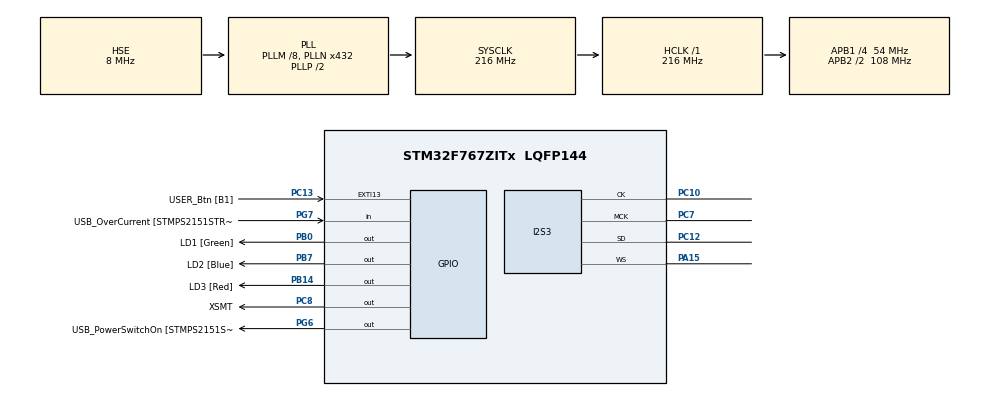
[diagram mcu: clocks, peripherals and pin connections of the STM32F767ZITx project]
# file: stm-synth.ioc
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Dma.Request0=SPI3_TX
Dma.SPI3_TX.0.Direction=DMA_MEMORY_TO_PERIPH
Dma.SPI3_TX.0.FIFOMode=DMA_FIFOMODE_DISABLE
Dma.SPI3_TX.0.Instance=DMA1_Stream5
Dma.SPI3_TX.0.MemDataAlignment=DMA_MDATAALIGN_HALFWORD
Dma.SPI3_TX.0.MemInc=DMA_MINC_ENABLE
Dma.SPI3_TX.0.Mode=DMA_CIRCULAR
Dma.SPI3_TX.0.PeriphDataAlignment=DMA_PDATAALIGN_HALFWORD
Dma.SPI3_TX.0.PeriphInc=DMA_PINC_DISABLE
Dma.SPI3_TX.0.Priority=DMA_PRIORITY_VERY_HIGH
I2S3.AudioFreq=I2S_AUDIOFREQ_48K
I2S3.ClockSource-Half_Duplex_Master=I2S_CLOCK_EXTERNAL
I2S3.DataFormat=I2S_DATAFORMAT_16B
I2S3.ErrorAudioFreq=-0.01 %
I2S3.FullDuplexMode=I2S_FULLDUPLEXMODE_DISABLE
I2S3.Instance=SPI$Index
I2S3.RealAudioFreq=47.991 KHz
I2S3.Standard=I2S_STANDARD_PHILIPS
I2S3.VirtualMode=I2S_MODE_MASTER
Mcu.Family=STM32F7
Mcu.Name=STM32F767ZITx
Mcu.Package=LQFP144
NVIC.DMA1_Stream5_IRQn=true\:0\:0\:false\:false\:true\:false\:true\:true
NVIC.PriorityGroup=NVIC_PRIORITYGROUP_4
NVIC.RCC_IRQn=true\:0\:0\:false\:false\:true\:true\:false\:true
NVIC.SPI3_IRQn=true\:0\:0\:false\:false\:true\:true\:true\:true
PA1.GPIO_Label=RMII_REF_CLK [LAN8742A-CZ-TR_REFCLK0]
PA1.Signal=ETH_REF_CLK
PA10.GPIO_Label=USB_ID
PA10.Signal=USB_OTG_FS_ID
PA11.GPIO_Label=USB_DM
PA11.Signal=USB_OTG_FS_DM
PA12.GPIO_Label=USB_DP
PA12.Signal=USB_OTG_FS_DP
PA13.GPIO_Label=TMS
PA13.Signal=SYS_JTMS-SWDIO
PA14.GPIO_Label=TCK
PA14.Signal=SYS_JTCK-SWCLK
PA15.Mode=Half_Duplex_Master
PA15.Signal=I2S3_WS
PA2.GPIO_Label=RMII_MDIO [LAN8742A-CZ-TR_MDIO]
PA2.Signal=ETH_MDIO
PA7.GPIO_Label=RMII_CRS_DV [LAN8742A-CZ-TR_CRS_DV]
PA7.Signal=ETH_CRS_DV
PA8.GPIO_Label=USB_SOF [TP1]
PA8.Signal=USB_OTG_FS_SOF
PA9.GPIO_Label=USB_VBUS
PA9.Signal=USB_OTG_FS_VBUS
PB0.GPIO_Label=LD1 [Green]
PB0.Signal=GPIO_Output
PB13.GPIO_Label=RMII_TXD1 [LAN8742A-CZ-TR_TXD1]
PB13.Signal=ETH_TXD1
PB14.GPIO_Label=LD3 [Red]
PB14.Signal=GPIO_Output
PB3.GPIO_Label=SW0
PB3.Signal=SYS_JTDO-SWO
PB7.GPIO_Label=LD2 [Blue]
PB7.Signal=GPIO_Output
PC1.GPIO_Label=RMII_MDC [LAN8742A-CZ-TR_MDC]
PC1.Signal=ETH_MDC
PC10.Mode=Half_Duplex_Master
PC10.Signal=I2S3_CK
PC12.Mode=Half_Duplex_Master
PC12.Signal=I2S3_SD
PC13.GPIO_Label=USER_Btn [B1]
PC13.Signal=GPXTI13
PC14/OSC32_IN.Signal=RCC_OSC32_IN
PC15/OSC32_OUT.Signal=RCC_OSC32_OUT
PC4.Signal=I2S1_MCK
PC5.GPIO_Label=RMII_RXD1 [LAN8742A-CZ-TR_RXD1]
PC5.Signal=ETH_RXD1
PC7.Mode=Master_Clock_Activated
PC7.Signal=I2S3_MCK
PC8.GPIO_Label=XSMT
PC8.GPIO_PuPd=GPIO_NOPULL
PC8.GPIO_Speed=GPIO_SPEED_FREQ_MEDIUM
PC8.Signal=GPIO_Output
PD8.GPIO_Label=STLK_RX [STM32F103CBT6_PA3]
PD8.Signal=USART3_TX
PD9.GPIO_Label=STLK_TX [STM32F103CBT6_PA2]
PD9.Signal=USART3_RX
PG11.GPIO_Label=RMII_TX_EN [LAN8742A-CZ-TR_TXEN]
PG11.Signal=ETH_TX_EN
PG13.GPIO_Label=RMII_TXD0 [LAN8742A-CZ-TR_TXD0]
PG13.Signal=ETH_TXD0
PG6.GPIO_Label=USB_PowerSwitchOn [STMPS2151STR_EN]
PG6.Signal=GPIO_Output
PG7.GPIO_Label=USB_OverCurrent [STMPS2151STR_FAULT]
PG7.Signal=GPIO_Input
PH0/OSC_IN.GPIO_Label=MCO [STM32F103CBT6_PA8]
PH0/OSC_IN.Mode=HSE-External-Oscillator
PH0/OSC_IN.Signal=RCC_OSC_IN
PH1/OSC_OUT.Mode=HSE-External-Oscillator
PH1/OSC_OUT.Signal=RCC_OSC_OUT
ProjectManager.HeapSize=0x200
ProjectManager.StackSize=0x400
ProjectManager.TargetToolchain=CMake
RCC.48MHZClocksFreq_Value=24000000
RCC.AHBFreq_Value=216000000
RCC.APB1CLKDivider=RCC_HCLK_DIV4
RCC.APB1Freq_Value=54000000
RCC.APB1TimFreq_Value=108000000
RCC.APB2CLKDivider=RCC_HCLK_DIV2
RCC.APB2Freq_Value=108000000
RCC.APB2TimFreq_Value=216000000
RCC.CortexFreq_Value=216000000
RCC.HCLKFreq_Value=216000000
RCC.HSE_VALUE=8000000
RCC.HSI_VALUE=16000000
RCC.LSE_VALUE=32768
RCC.PLLI2SN=344
RCC.PLLI2SR=7
RCC.PLLM=8
RCC.PLLMUL=RCC_PLL_MUL9
RCC.PLLN=432
RCC.PLLSAIN=216
RCC.PLLSourceVirtual=RCC_PLLSOURCE_HSE
RCC.PRESCALERUSB=RCC_USBCLKSOURCE_PLL_DIV1_5
RCC.SYSCLKFreq_VALUE=216000000
RCC.SYSCLKSource=RCC_SYSCLKSOURCE_PLLCLK
RCC.SYSCLKSourceVirtual=RCC_SYSCLKSOURCE_PLLCLK
RCC.USBFreq_Value=216000000
RCC.VCOOutputFreq_Value=432000000
board=NUCLEO-F767ZI

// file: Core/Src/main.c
/* USER CODE BEGIN Header */
/**
  ******************************************************************************
  * @file           : main.c
  * @brief          : Main program body
  ******************************************************************************
  * @attention
  *
  * Copyright (c) 2025 STMicroelectronics.
  * All rights reserved.
  *
  * This software is licensed under terms that can be found in the LICENSE file
  * in the root directory of this software component.
  * If no LICENSE file comes with this software, it is provided AS-IS.
  *
  ******************************************************************************
  */
/* USER CODE END Header */
#include "main.h"

/* USER CODE BEGIN Includes */
#include <math.h>
#include <string.h>
#include <stdbool.h>
/* USER CODE END Includes */

I2S_HandleTypeDef hi2s3;
DMA_HandleTypeDef hdma_spi3_tx;

void SystemClock_Config(void);
static void MX_GPIO_Init(void);
static void MX_DMA_Init(void);
static void MX_I2S3_Init(void);

/* USER CODE BEGIN 0 */

#define AUDIO_BUFFER_SIZE 128
#define AUDIO_RANGE 32767.0f
__attribute__((aligned(4))) int16_t audio_buffer[AUDIO_BUFFER_SIZE * 2] = {0};
bool muted = true;

volatile float phase = 0.0f;
const float sample_rate = 48000.0f * 0.976f;
const float frequency = 440.0f;
const float phase_increment = frequency / sample_rate;
const float gain = 0.9f;

void GenerateAudioBlock(int16_t* buf, int halfSize)
{
  if (muted) {
    memset(buf, INT16_MIN, halfSize * (sizeof(int16_t)));
    return;
  }
  for (int i = 0; i < halfSize; i += 2)
  {
    float s = sinf(2.0f * M_PI * phase) * gain;
    int16_t v = (int16_t)(s * AUDIO_RANGE);

    buf[i]     = v;  // left channel
    buf[i + 1] = v;  // right channel (mono)

    phase += phase_increment;
    if (phase >= 1.0f) phase -= 1.0f;
  }
}

/* USER CODE END 0 */

int main(void)
{

  /* MCU Configuration--------------------------------------------------------*/

  /* Reset of all peripherals, Initializes the Flash interface and the Systick. */
  HAL_Init();

  /* Configure the system clock */
  SystemClock_Config();

  /* Initialize all configured peripherals */
  MX_GPIO_Init();
  MX_DMA_Init();
  MX_I2S3_Init();

  /* Infinite loop */
  /* USER CODE BEGIN WHILE */
  HAL_StatusTypeDef ret = HAL_I2S_Transmit_DMA(&hi2s3, (uint16_t*)&audio_buffer[0], AUDIO_BUFFER_SIZE * 2);
  HAL_GPIO_WritePin(GPIOC, GPIO_PIN_8, GPIO_PIN_SET);
  while (1)
  {
    if (HAL_GPIO_ReadPin(GPIOC, GPIO_PIN_13) == GPIO_PIN_SET) {
      HAL_GPIO_WritePin(GPIOB, GPIO_PIN_7, GPIO_PIN_SET);
      muted = false;
    }
    else {
      HAL_GPIO_WritePin(GPIOB, GPIO_PIN_7, GPIO_PIN_RESET);
      muted = true;
    }

    /* USER CODE END WHILE */

  }
}

void SystemClock_Config(void)
{
  RCC_OscInitTypeDef RCC_OscInitStruct = {0};
  RCC_ClkInitTypeDef RCC_ClkInitStruct = {0};

  /** Configure the main internal regulator output voltage
  */
  __HAL_RCC_PWR_CLK_ENABLE();
  __HAL_PWR_VOLTAGESCALING_CONFIG(PWR_REGULATOR_VOLTAGE_SCALE1);

  /** Initializes the RCC Oscillators according to the specified parameters
  * in the RCC_OscInitTypeDef structure.
  */
  RCC_OscInitStruct.OscillatorType = RCC_OSCILLATORTYPE_HSE;
  RCC_OscInitStruct.HSEState = RCC_HSE_ON;
  RCC_OscInitStruct.PLL.PLLState = RCC_PLL_ON;
  RCC_OscInitStruct.PLL.PLLSource = RCC_PLLSOURCE_HSE;
  RCC_OscInitStruct.PLL.PLLM = 8;
  RCC_OscInitStruct.PLL.PLLN = 432;
  RCC_OscInitStruct.PLL.PLLP = RCC_PLLP_DIV2;
  RCC_OscInitStruct.PLL.PLLQ = 2;
  RCC_OscInitStruct.PLL.PLLR = 2;
  if (HAL_RCC_OscConfig(&RCC_OscInitStruct) != HAL_OK)
  {
    Error_Handler();
  }

  /** Activate the Over-Drive mode
  */
  if (HAL_PWREx_EnableOverDrive() != HAL_OK)
  {
    Error_Handler();
  }

  /** Initializes the CPU, AHB and APB buses clocks
  */
  RCC_ClkInitStruct.ClockType = RCC_CLOCKTYPE_HCLK|RCC_CLOCKTYPE_SYSCLK
                              |RCC_CLOCKTYPE_PCLK1|RCC_CLOCKTYPE_PCLK2;
  RCC_ClkInitStruct.SYSCLKSource = RCC_SYSCLKSOURCE_PLLCLK;
  RCC_ClkInitStruct.AHBCLKDivider = RCC_SYSCLK_DIV1;
  RCC_ClkInitStruct.APB1CLKDivider = RCC_HCLK_DIV4;
  RCC_ClkInitStruct.APB2CLKDivider = RCC_HCLK_DIV2;

  if (HAL_RCC_ClockConfig(&RCC_ClkInitStruct, FLASH_LATENCY_7) != HAL_OK)
  {
    Error_Handler();
  }
}

static void MX_I2S3_Init(void)
{

  hi2s3.Instance = SPI3;
  hi2s3.Init.Mode = I2S_MODE_MASTER_TX;
  hi2s3.Init.Standard = I2S_STANDARD_PHILIPS;
  hi2s3.Init.DataFormat = I2S_DATAFORMAT_16B;
  hi2s3.Init.MCLKOutput = I2S_MCLKOUTPUT_ENABLE;
  hi2s3.Init.AudioFreq = I2S_AUDIOFREQ_48K;
  hi2s3.Init.CPOL = I2S_CPOL_LOW;
  hi2s3.Init.ClockSource = I2S_CLOCK_PLL;
  if (HAL_I2S_Init(&hi2s3) != HAL_OK)
  {
    Error_Handler();
  }
  /* USER CODE BEGIN I2S3_Init 2 */
  __HAL_RCC_PLLI2S_ENABLE();
  /* USER CODE END I2S3_Init 2 */

}

static void MX_DMA_Init(void)
{

  /* DMA controller clock enable */
  __HAL_RCC_DMA1_CLK_ENABLE();

  /* DMA interrupt init */
  /* DMA1_Stream5_IRQn interrupt configuration */
  HAL_NVIC_SetPriority(DMA1_Stream5_IRQn, 0, 0);
  HAL_NVIC_EnableIRQ(DMA1_Stream5_IRQn);

}

static void MX_GPIO_Init(void)
{
  GPIO_InitTypeDef GPIO_InitStruct = {0};

  /* GPIO Ports Clock Enable */
  __HAL_RCC_GPIOC_CLK_ENABLE();
  __HAL_RCC_GPIOH_CLK_ENABLE();
  __HAL_RCC_GPIOA_CLK_ENABLE();
  __HAL_RCC_GPIOB_CLK_ENABLE();
  __HAL_RCC_GPIOD_CLK_ENABLE();
  __HAL_RCC_GPIOG_CLK_ENABLE();

  /*Configure GPIO pin Output Level */
  HAL_GPIO_WritePin(GPIOB, LD1_Pin|LD3_Pin|LD2_Pin, GPIO_PIN_RESET);

  /*Configure GPIO pin Output Level */
  HAL_GPIO_WritePin(USB_PowerSwitchOn_GPIO_Port, USB_PowerSwitchOn_Pin, GPIO_PIN_RESET);

  /*Configure GPIO pin Output Level */
  HAL_GPIO_WritePin(XSMT_GPIO_Port, XSMT_Pin, GPIO_PIN_RESET);

  /*Configure GPIO pin : USER_Btn_Pin */
  GPIO_InitStruct.Pin = USER_Btn_Pin;
  GPIO_InitStruct.Mode = GPIO_MODE_IT_RISING;
  GPIO_InitStruct.Pull = GPIO_NOPULL;
  HAL_GPIO_Init(USER_Btn_GPIO_Port, &GPIO_InitStruct);

  /*Configure GPIO pins : RMII_MDC_Pin RMII_RXD1_Pin */
  GPIO_InitStruct.Pin = RMII_MDC_Pin|RMII_RXD1_Pin;
  GPIO_InitStruct.Mode = GPIO_MODE_AF_PP;
  GPIO_InitStruct.Pull = GPIO_NOPULL;
  GPIO_InitStruct.Speed = GPIO_SPEED_FREQ_VERY_HIGH;
  GPIO_InitStruct.Alternate = GPIO_AF11_ETH;
  HAL_GPIO_Init(GPIOC, &GPIO_InitStruct);

  /*Configure GPIO pins : RMII_REF_CLK_Pin RMII_MDIO_Pin RMII_CRS_DV_Pin */
  GPIO_InitStruct.Pin = RMII_REF_CLK_Pin|RMII_MDIO_Pin|RMII_CRS_DV_Pin;
  GPIO_InitStruct.Mode = GPIO_MODE_AF_PP;
  GPIO_InitStruct.Pull = GPIO_NOPULL;
  GPIO_InitStruct.Speed = GPIO_SPEED_FREQ_VERY_HIGH;
  GPIO_InitStruct.Alternate = GPIO_AF11_ETH;
  HAL_GPIO_Init(GPIOA, &GPIO_InitStruct);

  /*Configure GPIO pin : PC4 */
  GPIO_InitStruct.Pin = GPIO_PIN_4;
  GPIO_InitStruct.Mode = GPIO_MODE_AF_PP;
  GPIO_InitStruct.Pull = GPIO_NOPULL;
  GPIO_InitStruct.Speed = GPIO_SPEED_FREQ_LOW;
  GPIO_InitStruct.Alternate = GPIO_AF5_SPI1;
  HAL_GPIO_Init(GPIOC, &GPIO_InitStruct);

  /*Configure GPIO pins : LD1_Pin LD3_Pin LD2_Pin */
  GPIO_InitStruct.Pin = LD1_Pin|LD3_Pin|LD2_Pin;
  GPIO_InitStruct.Mode = GPIO_MODE_OUTPUT_PP;
  GPIO_InitStruct.Pull = GPIO_NOPULL;
  GPIO_InitStruct.Speed = GPIO_SPEED_FREQ_LOW;
  HAL_GPIO_Init(GPIOB, &GPIO_InitStruct);

  /*Configure GPIO pin : RMII_TXD1_Pin */
  GPIO_InitStruct.Pin = RMII_TXD1_Pin;
  GPIO_InitStruct.Mode = GPIO_MODE_AF_PP;
  GPIO_InitStruct.Pull = GPIO_NOPULL;
  GPIO_InitStruct.Speed = GPIO_SPEED_FREQ_VERY_HIGH;
  GPIO_InitStruct.Alternate = GPIO_AF11_ETH;
  HAL_GPIO_Init(RMII_TXD1_GPIO_Port, &GPIO_InitStruct);

  /*Configure GPIO pins : STLK_RX_Pin STLK_TX_Pin */
  GPIO_InitStruct.Pin = STLK_RX_Pin|STLK_TX_Pin;
  GPIO_InitStruct.Mode = GPIO_MODE_AF_PP;
  GPIO_InitStruct.Pull = GPIO_NOPULL;
  GPIO_InitStruct.Speed = GPIO_SPEED_FREQ_VERY_HIGH;
  GPIO_InitStruct.Alternate = GPIO_AF7_USART3;
  HAL_GPIO_Init(GPIOD, &GPIO_InitStruct);

  /*Configure GPIO pin : USB_PowerSwitchOn_Pin */
  GPIO_InitStruct.Pin = USB_PowerSwitchOn_Pin;
  GPIO_InitStruct.Mode = GPIO_MODE_OUTPUT_PP;
  GPIO_InitStruct.Pull = GPIO_NOPULL;
  GPIO_InitStruct.Speed = GPIO_SPEED_FREQ_LOW;
  HAL_GPIO_Init(USB_PowerSwitchOn_GPIO_Port, &GPIO_InitStruct);

  /*Configure GPIO pin : USB_OverCurrent_Pin */
  GPIO_InitStruct.Pin = USB_OverCurrent_Pin;
  GPIO_InitStruct.Mode = GPIO_MODE_INPUT;
  GPIO_InitStruct.Pull = GPIO_NOPULL;
  HAL_GPIO_Init(USB_OverCurrent_GPIO_Port, &GPIO_InitStruct);

  /*Configure GPIO pin : XSMT_Pin */
  GPIO_InitStruct.Pin = XSMT_Pin;
  GPIO_InitStruct.Mode = GPIO_MODE_OUTPUT_PP;
  GPIO_InitStruct.Pull = GPIO_NOPULL;
  GPIO_InitStruct.Speed = GPIO_SPEED_FREQ_MEDIUM;
  HAL_GPIO_Init(XSMT_GPIO_Port, &GPIO_InitStruct);

  /*Configure GPIO pins : USB_SOF_Pin USB_ID_Pin USB_DM_Pin USB_DP_Pin */
  GPIO_InitStruct.Pin = USB_SOF_Pin|USB_ID_Pin|USB_DM_Pin|USB_DP_Pin;
  GPIO_InitStruct.Mode = GPIO_MODE_AF_PP;
  GPIO_InitStruct.Pull = GPIO_NOPULL;
  GPIO_InitStruct.Speed = GPIO_SPEED_FREQ_VERY_HIGH;
  GPIO_InitStruct.Alternate = GPIO_AF10_OTG_FS;
  HAL_GPIO_Init(GPIOA, &GPIO_InitStruct);

  /*Configure GPIO pin : USB_VBUS_Pin */
  GPIO_InitStruct.Pin = USB_VBUS_Pin;
  GPIO_InitStruct.Mode = GPIO_MODE_INPUT;
  GPIO_InitStruct.Pull = GPIO_NOPULL;
  HAL_GPIO_Init(USB_VBUS_GPIO_Port, &GPIO_InitStruct);

  /*Configure GPIO pins : RMII_TX_EN_Pin RMII_TXD0_Pin */
  GPIO_InitStruct.Pin = RMII_TX_EN_Pin|RMII_TXD0_Pin;
  GPIO_InitStruct.Mode = GPIO_MODE_AF_PP;
  GPIO_InitStruct.Pull = GPIO_NOPULL;
  GPIO_InitStruct.Speed = GPIO_SPEED_FREQ_VERY_HIGH;
  GPIO_InitStruct.Alternate = GPIO_AF11_ETH;
  HAL_GPIO_Init(GPIOG, &GPIO_InitStruct);

}

/* USER CODE BEGIN 4 */

void HAL_I2S_TxHalfCpltCallback(I2S_HandleTypeDef *hi2s) {
  GenerateAudioBlock(&audio_buffer[0], AUDIO_BUFFER_SIZE);
}

void HAL_I2S_TxCpltCallback(I2S_HandleTypeDef *hi2s) {
  GenerateAudioBlock(&audio_buffer[AUDIO_BUFFER_SIZE], AUDIO_BUFFER_SIZE);
}

void HAL_I2S_ErrorCallback(I2S_HandleTypeDef *hi2s) {
  HAL_GPIO_TogglePin(GPIOC, GPIO_PIN_13);
}

/* USER CODE END 4 */

void Error_Handler(void)
{
  __disable_irq();
  while (1)
  {
  }
}
